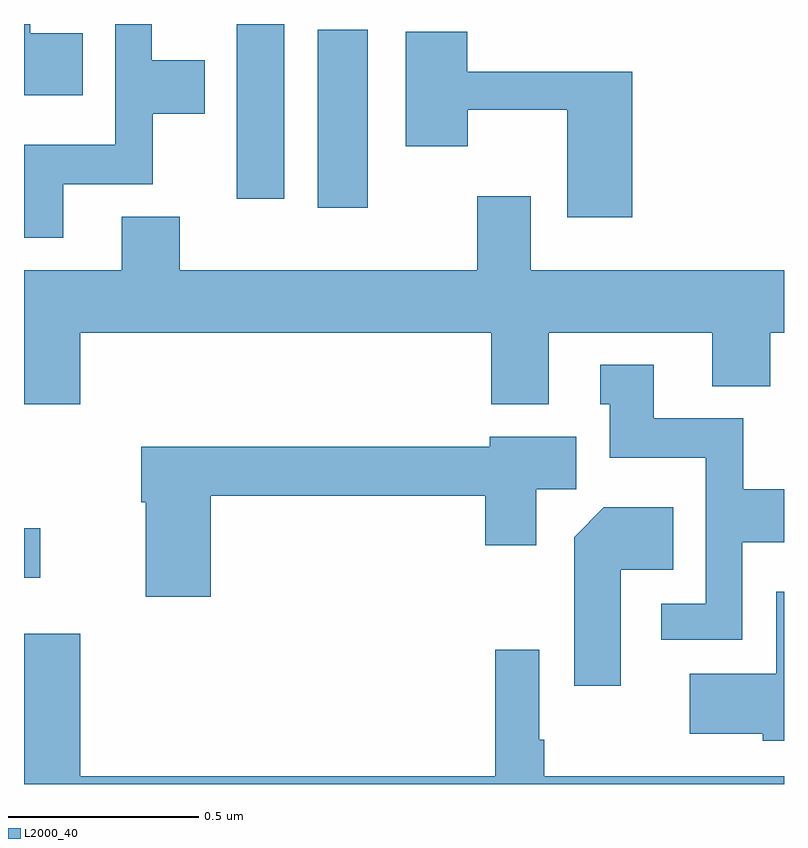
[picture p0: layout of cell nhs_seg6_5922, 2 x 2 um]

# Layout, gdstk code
import gdstk
lib = gdstk.Library(unit=1e-6, precision=1e-09)
def R(c, l, rs):  # rectangles x0, y0, x1, y1
    for r in rs: c.add(gdstk.rectangle(r[:2], r[2:], *l))
def P(c, l, *ps):  # polygons
    for p in ps: c.add(gdstk.Polygon(p, *l))
L2000_40 = (2000, 40)

nhs_seg6_5922 = lib.new_cell('nhs_seg6_5922')
R(nhs_seg6_5922, L2000_40, [(189,928.043,189.043,928.173), (189.773,929.016,189.904,929.485), (189.56,929.04,189.685,929.5)])
P(nhs_seg6_5922, L2000_40, [(189.103,929.078),(189.339,929.078),(189.339,929.264),(189.475,929.264),(189.475,929.404),(189.336,929.404),(189.336,929.5),(189.24,929.5),(189.24,929.182),(189,929.182),(189,928.938),(189.103,928.938)],
  [(189.155,929.476),(189.016,929.476),(189.016,929.5),(189,929.5),(189,929.312),(189.155,929.312)],
  [(190.601,929.375),(190.166,929.375),(190.166,929.479),(190.004,929.479),(190.004,929.178),(190.168,929.178),(190.168,929.275),(190.43,929.275),(190.43,928.992),(190.601,928.992)],
  [(190.381,928.688),(190.811,928.688),(190.811,928.547),(190.964,928.547),(190.964,928.688),(191,928.688),(191,928.852),(190.333,928.852),(190.333,929.047),(190.193,929.047),(190.193,928.852),(189.41,928.852),(189.41,928.993),(189.257,928.993),(189.257,928.852),(189,928.852),(189,928.5),(189.148,928.5),(189.148,928.688),(190.229,928.688),(190.229,928.499),(190.381,928.499)],
  [(190.89,928.136),(191,928.136),(191,928.276),(190.893,928.276),(190.893,928.462),(190.657,928.462),(190.657,928.603),(190.517,928.603),(190.517,928.5),(190.541,928.5),(190.541,928.358),(190.794,928.358),(190.794,927.975),(190.677,927.975),(190.677,927.879),(190.89,927.879)],
  [(189.491,928.258),(190.214,928.258),(190.214,928.128),(190.348,928.128),(190.348,928.276),(190.453,928.276),(190.453,928.414),(190.226,928.414),(190.226,928.387),(189.308,928.387),(189.308,928.241),(189.32,928.241),(189.32,927.993),(189.491,927.993)],
  [(190.57,928.064),(190.709,928.064),(190.709,928.228),(190.526,928.228),(190.448,928.15),(190.448,927.759),(190.57,927.759)],
  [(191,928.006),(190.98,928.006),(190.98,927.79),(190.752,927.79),(190.752,927.632),(190.944,927.632),(190.944,927.614),(191,927.614)],
  [(191,927.52),(190.369,927.52),(190.369,927.616),(190.356,927.616),(190.356,927.853),(190.24,927.853),(190.24,927.52),(189.148,927.52),(189.148,927.895),(189,927.895),(189,927.5),(191,927.5)])

lib.write_gds('nhs_seg6_5922.gds')
